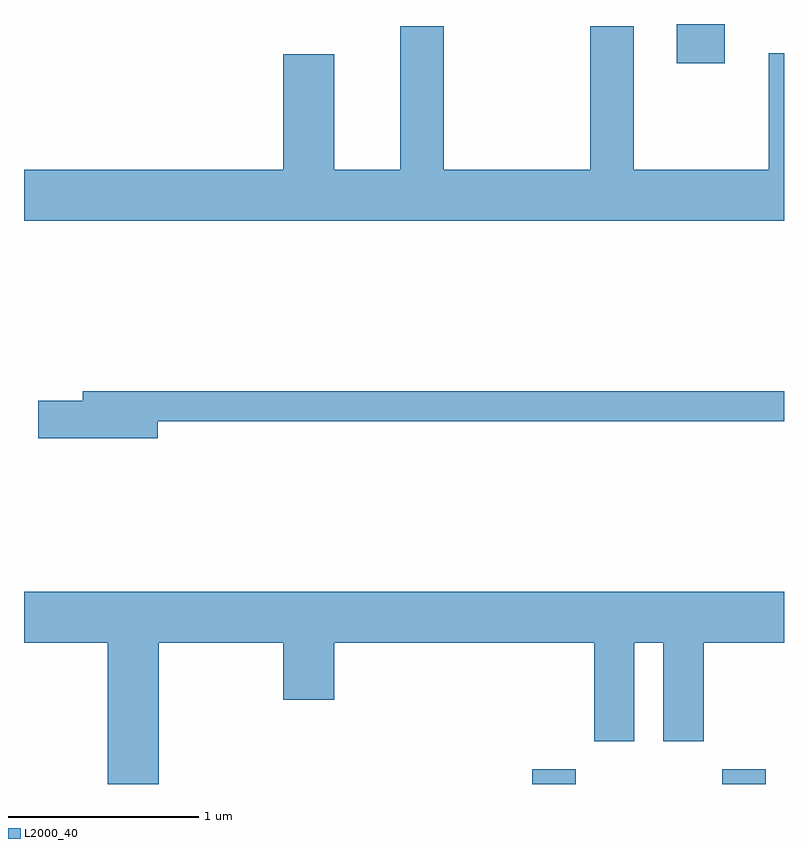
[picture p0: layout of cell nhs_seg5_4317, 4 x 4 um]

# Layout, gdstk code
import gdstk
lib = gdstk.Library(unit=1e-6, precision=1e-09)
def R(c, l, rs):  # rectangles x0, y0, x1, y1
    for r in rs: c.add(gdstk.rectangle(r[:2], r[2:], *l))
def P(c, l, *ps):  # polygons
    for p in ps: c.add(gdstk.Polygon(p, *l))
L2000_40 = (2000, 40)

nhs_seg5_4317 = lib.new_cell('nhs_seg5_4317')
R(nhs_seg5_4317, L2000_40, [(316.286,1436.072,316.514,1436.149), (317.286,1436.072,317.514,1436.149), (317.046,1439.866,317.299,1440.072)])
P(nhs_seg5_4317, L2000_40, [(317.611,1439.919),(317.531,1439.919),(317.531,1439.304),(316.819,1439.304),(316.819,1440.059),(316.591,1440.059),(316.591,1439.304),(315.819,1439.304),(315.819,1440.059),(315.591,1440.059),(315.591,1439.304),(315.244,1439.304),(315.244,1439.914),(314.976,1439.914),(314.976,1439.304),(313.611,1439.304),(313.611,1439.036),(317.611,1439.036)],
  [(314.314,1437.981),(317.611,1437.981),(317.611,1438.139),(313.921,1438.139),(313.921,1438.089),(313.686,1438.089),(313.686,1437.891),(314.314,1437.891)],
  [(314.319,1436.816),(314.976,1436.816),(314.976,1436.516),(315.244,1436.516),(315.244,1436.816),(316.611,1436.816),(316.611,1436.296),(316.824,1436.296),(316.824,1436.816),(316.976,1436.816),(316.976,1436.296),(317.189,1436.296),(317.189,1436.816),(317.611,1436.816),(317.611,1437.084),(313.611,1437.084),(313.611,1436.816),(314.051,1436.816),(314.051,1436.072),(314.319,1436.072)])

lib.write_gds('nhs_seg5_4317.gds')
